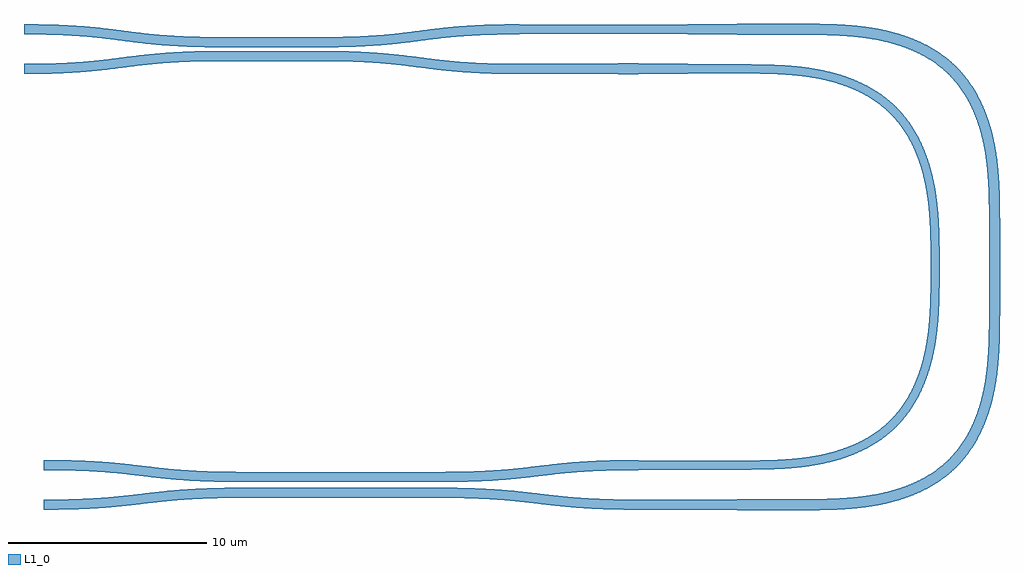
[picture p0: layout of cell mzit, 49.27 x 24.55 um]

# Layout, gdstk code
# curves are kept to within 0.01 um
from math import pi, radians
import gdstk
lib = gdstk.Library(unit=1e-6, precision=1e-09)
def R(c, l, rs):  # rectangles x0, y0, x1, y1
    for r in rs: c.add(gdstk.rectangle(r[:2], r[2:], *l))
def P(c, l, *ps):  # polygons
    for p in ps: c.add(gdstk.Polygon(p, *l))
L1_0 = (1, 0)

coupler_dy2_gap300n_leng = lib.new_cell('coupler_dy2_gap300n_length10')
R(coupler_dy2_gap300n_leng, L1_0, [(0,-0.25,10,0.25), (0,0.55,10,1.05)])
P(coupler_dy2_gap300n_leng, L1_0, [(0,-0.25),(-1.378,-0.267),(-2.807,-0.333),(-3.956,-0.432),(-6.244,-0.691),(-7.361,-0.779),(-8.735,-0.836),(-10,-0.85),(-10,-0.35),(-8.622,-0.333),(-7.193,-0.267),(-6.044,-0.168),(-3.756,0.091),(-2.639,0.179),(-1.265,0.236),(0,0.25)],
  [(0,1.05),(-1.378,1.067),(-2.807,1.133),(-3.956,1.232),(-6.244,1.491),(-7.361,1.579),(-8.735,1.636),(-10,1.65),(-10,1.15),(-8.622,1.133),(-7.193,1.067),(-6.044,0.968),(-3.756,0.709),(-2.639,0.621),(-1.265,0.564),(0,0.55)],
  [(10,1.05),(11.378,1.067),(12.807,1.133),(13.956,1.232),(16.244,1.491),(17.361,1.579),(18.735,1.636),(20,1.65),(20,1.15),(18.622,1.133),(17.193,1.067),(16.044,0.968),(13.756,0.709),(12.639,0.621),(11.265,0.564),(10,0.55)],
  [(10,-0.25),(11.378,-0.267),(12.807,-0.333),(13.956,-0.432),(16.244,-0.691),(17.361,-0.779),(18.735,-0.836),(20,-0.85),(20,-0.35),(18.622,-0.333),(17.193,-0.267),(16.044,-0.168),(13.756,0.091),(12.639,0.179),(11.265,0.236),(10,0.25)])

taper_length5_width1500_ = lib.new_cell('taper_length5_width1500_6197302c')
P(taper_length5_width1500_, L1_0, [(0,0.25),(5,0.225),(5,-0.225),(0,-0.25)])

bend_euler_radius10_widt = lib.new_cell('bend_euler_radius10_width450n')
P(bend_euler_radius10_widt, L1_0, [(0,-0.225),(1.602,-0.21),(2.312,-0.18),(2.928,-0.133),(3.496,-0.068),(3.969,0.005),(4.812,0.187),(5.32,0.335),(5.819,0.514),(6.263,0.706),(6.652,0.904),(7.069,1.152),(7.389,1.373),(7.732,1.646),(8.02,1.91),(8.322,2.231),(8.627,2.611),(8.848,2.931),(9.073,3.306),(9.294,3.737),(9.486,4.181),(9.635,4.588),(9.788,5.095),(9.987,5.984),(10.068,6.504),(10.133,7.072),(10.18,7.688),(10.21,8.398),(10.225,10),(9.775,10),(9.756,8.272),(9.728,7.668),(9.676,7.022),(9.603,6.427),(9.51,5.883),(9.389,5.346),(9.237,4.818),(8.962,4.094),(8.635,3.446),(8.395,3.062),(8.183,2.77),(7.769,2.295),(7.508,2.047),(7.266,1.845),(7.012,1.656),(6.671,1.434),(6.356,1.255),(5.947,1.056),(5.611,0.916),(5.182,0.763),(4.654,0.611),(4.117,0.49),(3.573,0.397),(2.978,0.324),(2.332,0.272),(1.728,0.244),(0,0.225)])

taper_length5_width1450_ = lib.new_cell('taper_length5_width1450_272160ef')
P(taper_length5_width1450_, L1_0, [(0,0.225),(5,0.275),(5,-0.275),(0,-0.225)])

straight_length1_width55 = lib.new_cell('straight_length1_width550n')
R(straight_length1_width55, L1_0, [(0,-0.275,1,0.275)])

taper_length5_width1550_ = lib.new_cell('taper_length5_width1550_41f84c30')
P(taper_length5_width1550_, L1_0, [(0,0.275),(5,0.25),(5,-0.25),(0,-0.275)])

c_taper_length5_width1500_ = lib.new_cell('taper_length5_width1500_eb6c0ed2')
P(c_taper_length5_width1500_, L1_0, [(0,0.25),(5,0.275),(5,-0.275),(0,-0.25)])

straight_length3_width55 = lib.new_cell('straight_length3_width550n')
R(straight_length3_width55, L1_0, [(0,-0.275,3,0.275)])

c_bend_euler_radius10_widt = lib.new_cell('bend_euler_radius10_width550n')
P(c_bend_euler_radius10_widt, L1_0, [(0,-0.275),(1.603,-0.26),(2.362,-0.227),(2.885,-0.187),(3.455,-0.124),(4.025,-0.036),(4.871,0.151),(5.382,0.303),(5.793,0.45),(6.24,0.64),(6.676,0.86),(7.096,1.11),(7.419,1.333),(7.765,1.608),(8.02,1.84),(8.327,2.161),(8.638,2.542),(8.89,2.904),(9.14,3.324),(9.36,3.76),(9.55,4.207),(9.697,4.618),(9.849,5.129),(10.036,5.975),(10.124,6.545),(10.187,7.115),(10.227,7.638),(10.26,8.397),(10.275,10),(9.725,10),(9.706,8.273),(9.678,7.671),(9.626,7.027),(9.56,6.48),(9.443,5.803),(9.329,5.314),(9.161,4.748),(8.898,4.073),(8.742,3.748),(8.546,3.393),(8.328,3.053),(8.116,2.765),(7.702,2.298),(7.235,1.884),(6.947,1.672),(6.607,1.454),(6.252,1.258),(5.927,1.102),(5.252,0.839),(4.686,0.671),(4.197,0.557),(3.52,0.44),(2.973,0.374),(2.329,0.322),(1.727,0.294),(0,0.275)])

straight_length4_width55 = lib.new_cell('straight_length4_width550n')
R(straight_length4_width55, L1_0, [(0,-0.275,4,0.275)])

c_taper_length5_width1550_ = lib.new_cell('taper_length5_width1550_ab60e40e')
P(c_taper_length5_width1550_, L1_0, [(0,0.275),(5,0.225),(5,-0.225),(0,-0.275)])

straight_length1_width45 = lib.new_cell('straight_length1_width450n')
R(straight_length1_width45, L1_0, [(0,-0.225,1,0.225)])

c_taper_length5_width1450_ = lib.new_cell('taper_length5_width1450_d1c96003')
P(c_taper_length5_width1450_, L1_0, [(0,0.225),(5,0.25),(5,-0.25),(0,-0.225)])

coupler_dy2_gap200n_leng = lib.new_cell('coupler_dy2_gap200n_length5')
R(coupler_dy2_gap200n_leng, L1_0, [(0,-0.25,5,0.25), (0,0.45,5,0.95)])
P(coupler_dy2_gap200n_leng, L1_0, [(0,-0.25),(-1.621,-0.277),(-2.902,-0.347),(-4.035,-0.456),(-6.157,-0.718),(-7.36,-0.823),(-8.608,-0.881),(-10,-0.9),(-10,-0.4),(-8.379,-0.373),(-7.098,-0.303),(-5.965,-0.194),(-3.843,0.068),(-2.64,0.173),(-1.392,0.231),(0,0.25)],
  [(0,0.95),(-1.621,0.977),(-2.902,1.047),(-4.035,1.156),(-6.157,1.418),(-7.36,1.523),(-8.608,1.581),(-10,1.6),(-10,1.1),(-8.379,1.073),(-7.098,1.003),(-5.965,0.894),(-3.843,0.632),(-2.64,0.527),(-1.392,0.469),(0,0.45)],
  [(5,0.95),(6.621,0.977),(7.902,1.047),(9.035,1.156),(11.157,1.418),(12.36,1.523),(13.608,1.581),(15,1.6),(15,1.1),(13.379,1.073),(12.098,1.003),(10.965,0.894),(8.843,0.632),(7.64,0.527),(6.392,0.469),(5,0.45)],
  [(5,-0.25),(6.621,-0.277),(7.902,-0.347),(9.035,-0.456),(11.157,-0.718),(12.36,-0.823),(13.608,-0.881),(15,-0.9),(15,-0.4),(13.379,-0.373),(12.098,-0.303),(10.965,-0.194),(8.843,0.068),(7.64,0.173),(6.392,0.231),(5,0.25)])

mzit = lib.new_cell('mzit')
mzit.add(gdstk.Reference(coupler_dy2_gap300n_leng, (0,0)))
mzit.add(gdstk.Reference(taper_length5_width1500_, (20,1.4)))
mzit.add(gdstk.Reference(bend_euler_radius10_widt, (35,11.4), rotation=pi/2))
mzit.add(gdstk.Reference(bend_euler_radius10_widt, (25,1.4)))
mzit.add(gdstk.Reference(taper_length5_width1450_, (25,21.4), rotation=pi))
mzit.add(gdstk.Reference(straight_length1_width55, (20,21.4), rotation=pi))
mzit.add(gdstk.Reference(taper_length5_width1550_, (19,21.4), rotation=pi))
mzit.add(gdstk.Reference(c_taper_length5_width1500_, (20,-0.6)))
mzit.add(gdstk.Reference(straight_length3_width55, (25,-0.6)))
mzit.add(gdstk.Reference(c_bend_euler_radius10_widt, (38,13.4), rotation=pi/2))
mzit.add(gdstk.Reference(c_bend_euler_radius10_widt, (28,-0.6)))
mzit.add(gdstk.Reference(straight_length4_width55, (38,9.4), rotation=pi/2))
mzit.add(gdstk.Reference(straight_length3_width55, (28,23.4), rotation=pi))
mzit.add(gdstk.Reference(c_taper_length5_width1550_, (25,23.4), rotation=pi))
mzit.add(gdstk.Reference(straight_length1_width45, (20,23.4), rotation=pi))
mzit.add(gdstk.Reference(c_taper_length5_width1450_, (19,23.4), rotation=pi))
mzit.add(gdstk.Reference(coupler_dy2_gap200n_leng, (-1,22.05)))

lib.write_gds('mzit.gds')
